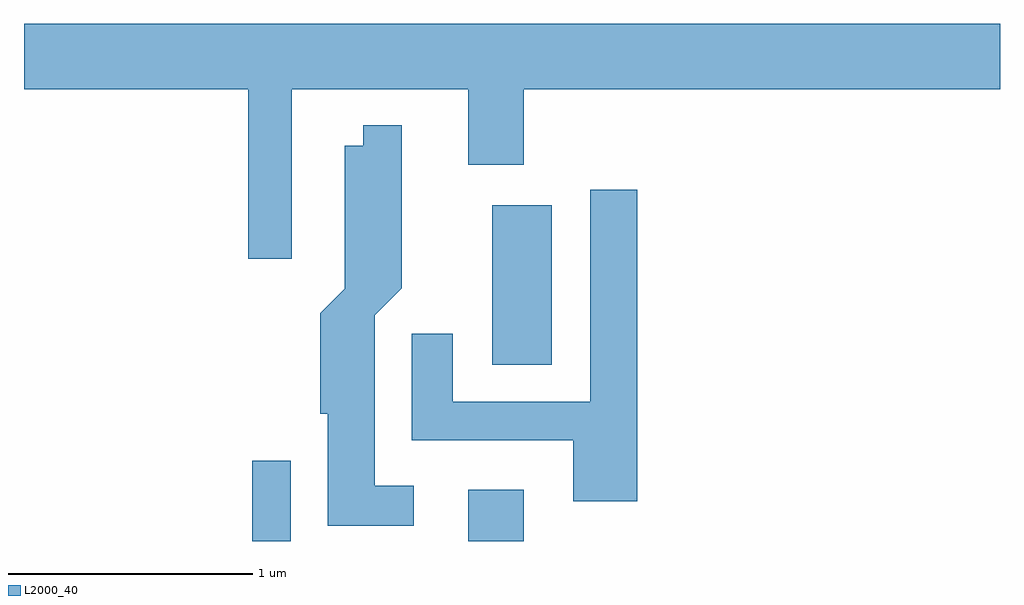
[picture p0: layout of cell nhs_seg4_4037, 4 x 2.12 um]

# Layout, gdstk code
import gdstk
lib = gdstk.Library(unit=1e-6, precision=1e-09)
def R(c, l, rs):  # rectangles x0, y0, x1, y1
    for r in rs: c.add(gdstk.rectangle(r[:2], r[2:], *l))
def P(c, l, *ps):  # polygons
    for p in ps: c.add(gdstk.Polygon(p, *l))
L2000_40 = (2000, 40)

nhs_seg4_4037 = lib.new_cell('nhs_seg4_4037')
R(nhs_seg4_4037, L2000_40, [(304.546,1303.982,304.704,1304.313), (305.431,1303.982,305.659,1304.194), (305.531,1304.706,305.774,1305.359)])
P(nhs_seg4_4037, L2000_40, [(304.709,1305.836),(305.431,1305.836),(305.431,1305.526),(305.659,1305.526),(305.659,1305.836),(307.611,1305.836),(307.611,1306.104),(303.611,1306.104),(303.611,1305.836),(304.531,1305.836),(304.531,1305.141),(304.709,1305.141)],
  [(305.208,1304.209),(305.049,1304.209),(305.049,1304.909),(305.159,1305.019),(305.159,1305.688),(305.001,1305.688),(305.001,1305.604),(304.926,1305.604),(304.926,1305.017),(304.826,1304.917),(304.826,1304.506),(304.856,1304.506),(304.856,1304.046),(305.208,1304.046)],
  [(306.124,1305.424),(305.931,1305.424),(305.931,1304.554),(305.369,1304.554),(305.369,1304.833),(305.201,1304.833),(305.201,1304.396),(305.861,1304.396),(305.861,1304.146),(306.124,1304.146)])

lib.write_gds('nhs_seg4_4037.gds')
